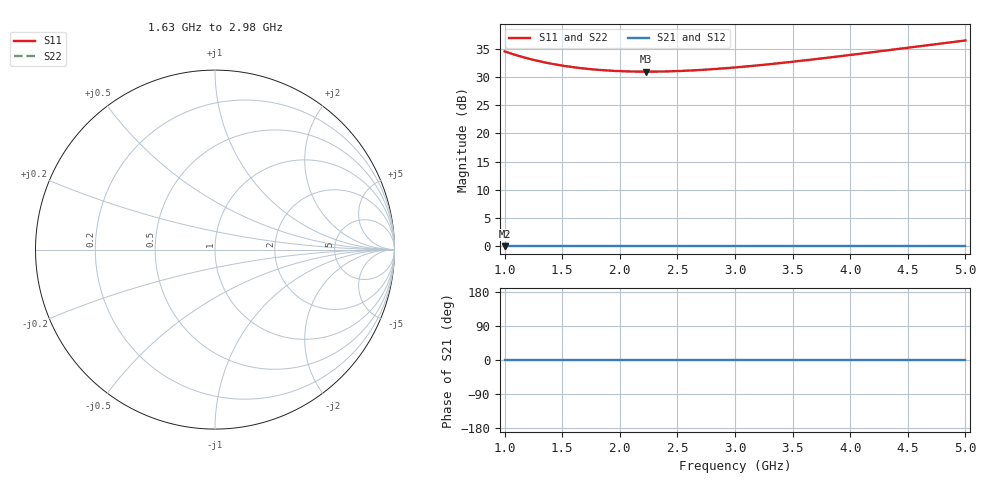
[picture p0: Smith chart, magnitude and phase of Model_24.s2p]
# GHZ S RI R 50
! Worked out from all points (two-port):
!   401 points, 1 GHz to 5 GHz, reference 50 ohm
!   highest |S21| = 0.00 dB at 1 GHz (marker M1); lowest = 0.0 dB at 1 GHz (marker M2)
!   |S21| within 3 dB of the highest: start of sweep to end of sweep
!   lowest |S11| = 31.0 dB at 2.23 GHz (marker M3)
!   |S11| at or under -10 dB: nowhere
!   |S22| runs from 31.0 to 36.5 dB; largest |S21 - S12| = 0
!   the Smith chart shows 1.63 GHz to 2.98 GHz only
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1  53.39 0  1 0  1 0  53.39 0
1.15  47.77 0  1 0  1 0  47.77 0
1.22  45.71 0  1 0  1 0  45.71 0
1.3  43.7 0  1 0  1 0  43.7 0
1.38  42.01 0  1 0  1 0  42.01 0
1.47  40.41 0  1 0  1 0  40.41 0
1.57  38.97 0  1 0  1 0  38.97 0
1.67  37.83 0  1 0  1 0  37.83 0
1.8  36.71 0  1 0  1 0  36.71 0
1.93  35.95 0  1 0  1 0  35.95 0
2.08  35.45 0  1 0  1 0  35.45 0
2.23  35.28 0  1 0  1 0  35.28 0
2.34  35.35 0  1 0  1 0  35.35 0
2.5  35.71 0  1 0  1 0  35.71 0
2.66  36.33 0  1 0  1 0  36.33 0
3  38.45 0  1 0  1 0  38.45 0
3.33  41.38 0  1 0  1 0  41.38 0
3.67  45.2 0  1 0  1 0  45.2 0
4  49.61 0  1 0  1 0  49.61 0
4.34  54.82 0  1 0  1 0  54.82 0
4.63  59.77 0  1 0  1 0  59.77 0
5  66.73 0  1 0  1 0  66.73 0
